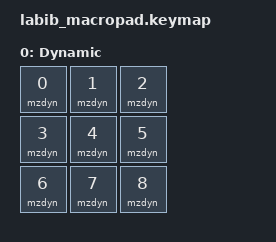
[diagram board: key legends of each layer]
#include <behaviors.dtsi>
#include <behaviors/macroz_dynamic.dtsi>

/ {
    keymap {
        compatible = "zmk,keymap";

        default_layer {
            display-name = "Dynamic";
            bindings = <
                &mzdyn 0 &mzdyn 1 &mzdyn 2
                &mzdyn 3 &mzdyn 4 &mzdyn 5
                &mzdyn 6 &mzdyn 7 &mzdyn 8
            >;
        };
    };
};
